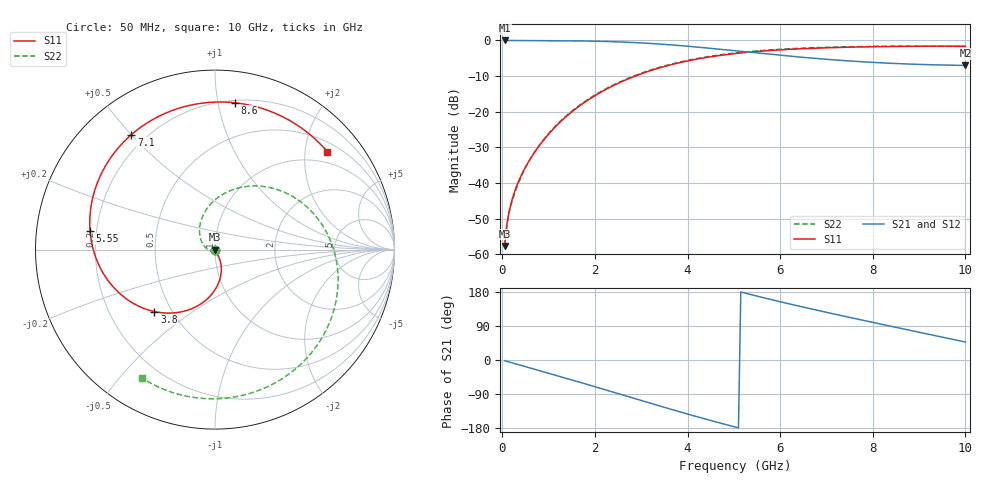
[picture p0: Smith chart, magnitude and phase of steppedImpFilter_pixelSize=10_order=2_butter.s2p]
! freq	dB(S11)	phase(S11)	dB(S12)	phase(S12)
!  dB(S21)	phase(S21)	dB(S22)	phase(S22)
!S-par simulation data
#  GHz  S  DB  R 50
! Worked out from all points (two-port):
!   200 points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, 50 MHz to 10 GHz, reference 50 ohm
!   highest |S21| = 0.00 dB at 50 MHz (marker M1); lowest = -7.0 dB at 10 GHz (marker M2)
!   |S21| within 3 dB of the highest: start of sweep to 5.103 GHz
!   lowest |S11| = -57.7 dB at 50 MHz (marker M3), VSWR 1.00, Z = 50 - j0.127 ohm
!   |S11| at or under -10 dB: start of sweep to 2.871 GHz
!   |S22| runs from -57.8 to -1.6 dB; largest |S21 - S12| = 0
!   S11 on the Smith chart (normalised r, x): 50 MHz: 1.00, -0.00; 3.8 GHz: 0.40, -0.36; 5.55 GHz: 0.17, +0.07; 7.1 GHz: 0.15, +0.50; 8.6 GHz: 0.22, +1.12; 10 GHz: 0.71, +2.49
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0.05  -57.72 -77.4  -0.00 -1.8  -0.00 -1.8  -57.76 -93.5
0.1  -51.54 -79.2  -0.01 -3.5  -0.01 -3.5  -51.75 -100.7
0.2  -45.20 -76.2  -0.01 -7.0  -0.01 -7.0  -45.68 -114.3
0.35  -39.61 -70.5  -0.02 -12.2  -0.02 -12.2  -40.08 -134.8
0.5  -35.59 -66.1  -0.02 -17.4  -0.02 -17.4  -35.75 -151.1
0.75  -30.41 -62.7  -0.04 -26.1  -0.04 -26.1  -30.28 -172.1
1.05  -25.57 -63.5  -0.05 -36.6  -0.05 -36.6  -25.35 167.7
1.75  -17.62 -74.8  -0.15 -61.4  -0.15 -61.4  -17.40 129.9
2.55  -11.75 -95.7  -0.42 -90.5  -0.42 -90.5  -11.55 93.0
3.4  -7.69 -121.6  -1.01 -121.4  -1.01 -121.4  -7.50 57.2
3.8  -6.33 -134.3  -1.40 -135.6  -1.40 -135.6  -6.15 41.5
4.4  -4.80 -153.3  -2.09 -156.3  -2.09 -156.3  -4.62 19.3
5.05  -3.66 -173.5  -2.93 -177.5  -2.93 -177.5  -3.48 -2.6
5.55  -3.05 171.4  -3.59 167.1  -3.59 167.1  -2.87 -18.0
6.1  -2.57 155.1  -4.28 150.9  -4.28 150.9  -2.39 -33.7
6.7  -2.20 137.6  -4.98 134.0  -4.98 134.0  -2.03 -49.3
7.1  -2.03 126.0  -5.39 123.1  -5.39 123.1  -1.87 -59.0
7.75  -1.82 107.2  -5.97 105.8  -5.97 105.8  -1.70 -73.9
8.35  -1.70 89.7  -6.39 90.1  -6.39 90.1  -1.62 -86.7
8.6  -1.67 82.4  -6.54 83.6  -6.54 83.6  -1.60 -91.9
9.3  -1.61 61.8  -6.84 65.5  -6.84 65.5  -1.61 -106.0
10  -1.61 41.1  -7.01 47.5  -7.01 47.5  -1.70 -119.6
